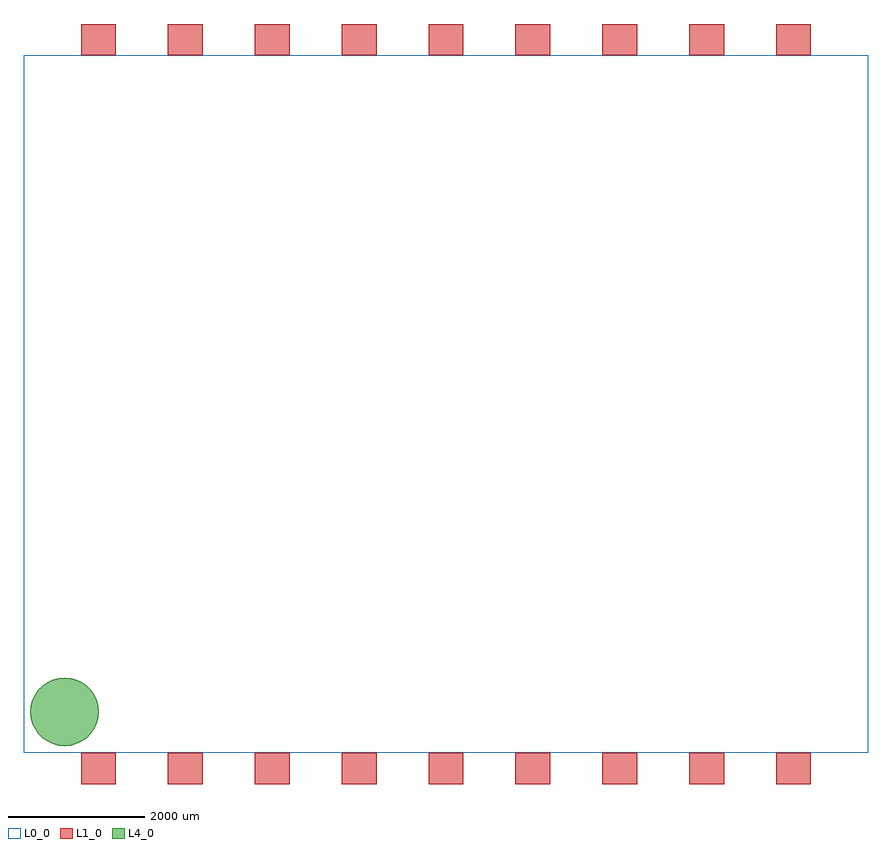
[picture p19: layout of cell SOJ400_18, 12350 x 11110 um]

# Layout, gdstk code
import gdstk
lib = gdstk.Library(unit=1e-6, precision=1e-09)
def R(c, l, rs):  # rectangles x0, y0, x1, y1
    for r in rs: c.add(gdstk.rectangle(r[:2], r[2:], *l))
def A(c, l, x, y, w, h, nx, ny, dx, dy):  # array of equal rectangles
    R(c, l, [(x+i*dx, y+j*dy, x+i*dx+w, y+j*dy+h) for i in range(nx) for j in range(ny)])
def P(c, l, *ps):  # polygons
    for p in ps: c.add(gdstk.Polygon(p, *l))
L0_0 = (0, 0)
L1_0 = (1, 0)
L4_0 = (4, 0)
L99_1 = (99, 1)
L99_2 = (99, 2)
L99_3 = (99, 3)
L99_4 = (99, 4)
L99_5 = (99, 5)
L99_6 = (99, 6)
L99_7 = (99, 7)
L99_8 = (99, 8)
L99_9 = (99, 9)
L99_10 = (99, 10)
L99_11 = (99, 11)
L99_12 = (99, 12)
L99_13 = (99, 13)
L99_14 = (99, 14)
L99_15 = (99, 15)
L99_16 = (99, 16)
L99_17 = (99, 17)
L99_18 = (99, 18)

soj400_18 = lib.new_cell('SOJ400_18')
R(soj400_18, L0_0, [(0,0,12350,10200)])
A(soj400_18, L1_0, 840, -455, 510, 455, 9, 2, 1270, 10655)
P(soj400_18, L4_0, [(1100,600),(1092.404,513.176),(1069.846,428.99),(1033.013,350),(983.022,278.606),(921.394,216.978),(850,166.987),(771.01,130.154),(686.824,107.596),(600,100),(513.176,107.596),(428.99,130.154),(350,166.987),(278.606,216.978),(216.978,278.606),(166.987,350),(130.154,428.99),(107.596,513.176),(100,600),(107.596,686.824),(130.154,771.01),(166.987,850),(216.978,921.394),(278.606,983.022),(350,1033.013),(428.99,1069.846),(513.176,1092.404),(600,1100),(686.824,1092.404),(771.01,1069.846),(850,1033.013),(921.394,983.022),(983.022,921.394),(1033.013,850),(1069.846,771.01),(1092.404,686.824)])
soj400_18.add(gdstk.FlexPath([(1350,0),(840,0)], 0, ends="round", simple_path=True, layer=99, datatype=1))  # L99_1
soj400_18.add(gdstk.FlexPath([(2620,0),(2110,0)], 0, ends="round", simple_path=True, layer=99, datatype=2))  # L99_2
soj400_18.add(gdstk.FlexPath([(3890,0),(3380,0)], 0, ends="round", simple_path=True, layer=99, datatype=3))  # L99_3
soj400_18.add(gdstk.FlexPath([(5160,0),(4650,0)], 0, ends="round", simple_path=True, layer=99, datatype=4))  # L99_4
soj400_18.add(gdstk.FlexPath([(6430,0),(5920,0)], 0, ends="round", simple_path=True, layer=99, datatype=5))  # L99_5
soj400_18.add(gdstk.FlexPath([(7700,0),(7190,0)], 0, ends="round", simple_path=True, layer=99, datatype=6))  # L99_6
soj400_18.add(gdstk.FlexPath([(8970,0),(8460,0)], 0, ends="round", simple_path=True, layer=99, datatype=7))  # L99_7
soj400_18.add(gdstk.FlexPath([(10240,0),(9730,0)], 0, ends="round", simple_path=True, layer=99, datatype=8))  # L99_8
soj400_18.add(gdstk.FlexPath([(11510,0),(11000,0)], 0, ends="round", simple_path=True, layer=99, datatype=9))  # L99_9
soj400_18.add(gdstk.FlexPath([(840,10200),(1350,10200)], 0, ends="round", simple_path=True, layer=99, datatype=18))  # L99_18
soj400_18.add(gdstk.FlexPath([(2110,10200),(2620,10200)], 0, ends="round", simple_path=True, layer=99, datatype=17))  # L99_17
soj400_18.add(gdstk.FlexPath([(3380,10200),(3890,10200)], 0, ends="round", simple_path=True, layer=99, datatype=16))  # L99_16
soj400_18.add(gdstk.FlexPath([(4650,10200),(5160,10200)], 0, ends="round", simple_path=True, layer=99, datatype=15))  # L99_15
soj400_18.add(gdstk.FlexPath([(5920,10200),(6430,10200)], 0, ends="round", simple_path=True, layer=99, datatype=14))  # L99_14
soj400_18.add(gdstk.FlexPath([(7190,10200),(7700,10200)], 0, ends="round", simple_path=True, layer=99, datatype=13))  # L99_13
soj400_18.add(gdstk.FlexPath([(8460,10200),(8970,10200)], 0, ends="round", simple_path=True, layer=99, datatype=12))  # L99_12
soj400_18.add(gdstk.FlexPath([(9730,10200),(10240,10200)], 0, ends="round", simple_path=True, layer=99, datatype=11))  # L99_11
soj400_18.add(gdstk.FlexPath([(11000,10200),(11510,10200)], 0, ends="round", simple_path=True, layer=99, datatype=10))  # L99_10

lib.write_gds('SOJ400_18.gds')
